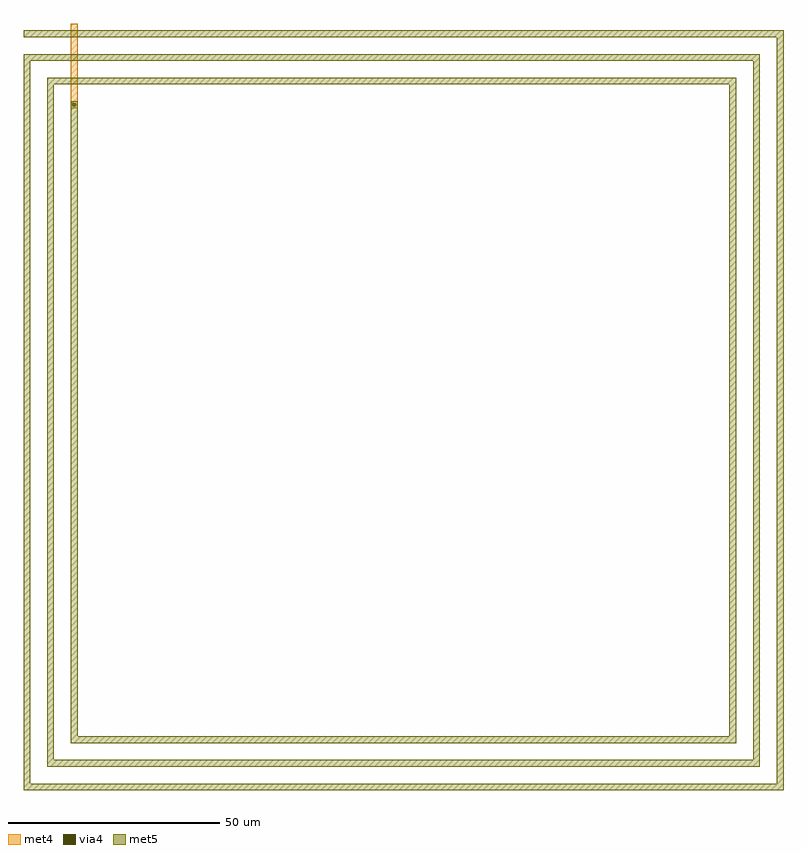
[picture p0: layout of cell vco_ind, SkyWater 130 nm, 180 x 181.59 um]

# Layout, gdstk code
import gdstk
lib = gdstk.Library(unit=1e-6, precision=1e-09)
def R(c, l, rs):  # rectangles x0, y0, x1, y1
    for r in rs: c.add(gdstk.rectangle(r[:2], r[2:], *l))
def P(c, l, *ps):  # polygons
    for p in ps: c.add(gdstk.Polygon(p, *l))
met4 = (71, 20)
via4 = (71, 44)
met5 = (72, 20)

vco_ind = lib.new_cell('vco_ind')
R(vco_ind, met4, [(111.19,261.59,112.79,281.59), (111.205,261.59,112.795,263.19)])
R(vco_ind, via4, [(111.59,261.99,112.39,262.79)])
R(vco_ind, met5, [(111.205,261.59,112.795,263.19)])
P(vco_ind, met5, [(100,278.4),(100,280),(280,280),(278.4,278.4)],
  [(280,100),(278.4,101.6),(278.4,278.4),(280,280)],
  [(100,100),(101.6,101.6),(278.4,101.6),(280,100)],
  [(100,100),(100,274.4),(101.6,272.8),(101.6,101.6)],
  [(101.6,272.8),(100,274.4),(274.4,274.4),(272.8,272.8)],
  [(274.4,105.59),(272.8,107.19),(272.8,272.8),(274.4,274.4)],
  [(105.59,105.59),(107.19,107.19),(272.8,107.19),(274.4,105.59)],
  [(105.59,105.59),(105.59,268.8),(107.19,267.19),(107.19,107.19)],
  [(107.2,267.19),(105.59,268.8),(268.8,268.8),(267.19,267.19)],
  [(268.8,111.19),(267.19,112.79),(267.19,267.19),(268.8,268.8)],
  [(111.19,111.19),(112.79,112.79),(267.19,112.79),(268.8,111.19)],
  [(111.19,111.19),(111.19,263.19),(112.79,263.19),(112.79,112.79)])

lib.write_gds('vco_ind.gds')
